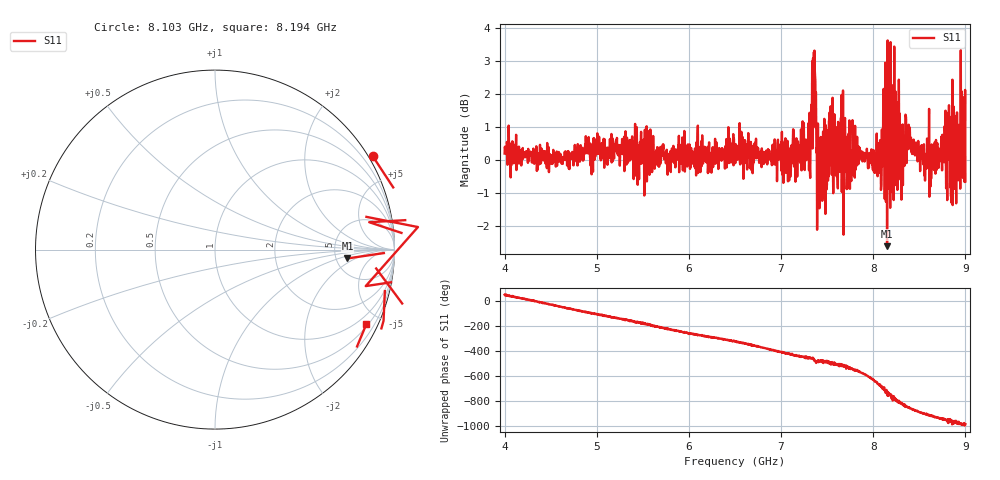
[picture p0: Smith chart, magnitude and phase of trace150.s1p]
! Created with skrf 1.8.0 (http://scikit-rf.org).
# Hz S RI R 50.0
!freq ReS11 ImS11
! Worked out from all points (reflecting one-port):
!   1601 points, 4 GHz to 9 GHz, reference 50 ohm
!   lowest |S11| = -2.6 dB at 8.15 GHz (marker M1), VSWR 6.69, Z = 319 - j69.4 ohm
!   phase of S11 starts at 53 deg and turns -1034 deg over the sweep
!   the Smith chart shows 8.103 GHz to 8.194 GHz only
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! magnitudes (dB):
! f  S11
! 4 GHz  0.2
! 4.625 GHz  -0.1
! 4.894 GHz  0.2
! 5.25 GHz  -0.2
! 5.875 GHz  0.1
! 6.5 GHz  0.4
! 7.125 GHz  0.3
! 7.294 GHz  0.4
! 7.316 GHz  -0.5
! 7.356 GHz  3.3
! 7.409 GHz  -0.4
! 7.538 GHz  1.6
! 7.591 GHz  0.6
! 7.672 GHz  2.1
! 7.75 GHz  -0.2
! 7.8 GHz  -0.5
! 8.066 GHz  -0.4
! 8.116 GHz  0.7
! 8.15 GHz  -2.6
! 8.178 GHz  3.2
! 8.253 GHz  0.9
! 8.312 GHz  1.0
! 8.375 GHz  1.0
! 8.556 GHz  -0.5
! 8.8 GHz  -0.3
! 8.856 GHz  -1.0
! 8.972 GHz  0.6
! 9 GHz  -0.7
